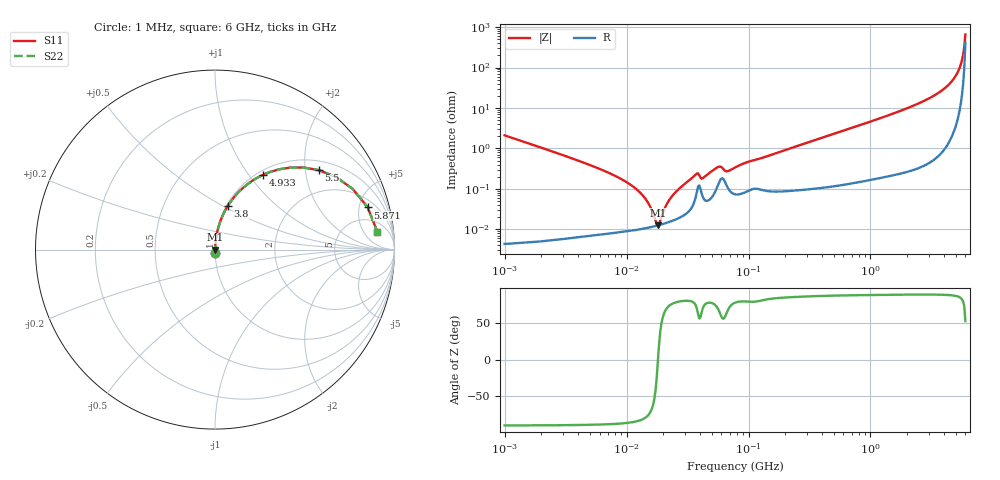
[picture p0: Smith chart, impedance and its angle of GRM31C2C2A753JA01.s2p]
!Murata Part Number: GRM31C2C2A753JA01
!These Parameters are Measured in Series Mode Connection
!Data Generated on Mar 30, 2021
!  o--ll--o
!Port1  Port2
!  o------o
!Operation Temp=25[degC], DC Bias Voltage=0[V]
!Freq. Start=1000[kHz] Stop=6[GHz] 401[Steps]
# Hz S RI R 50
!Freq.(Hz) S11(Real) S11(Imag) S21(Real) S21(Imag) S12(Real) S12(Imag) S22(Real) S22(Imag)
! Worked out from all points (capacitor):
!   401 points, 1 MHz to 6 GHz, reference 50 ohm
!   read as one part in series: C = 75.3 nF near 1.044 MHz
!   lowest |Z| = 12.5 mohm at 18.04 MHz (marker M1)
!   series resonance near 18.1 MHz, so ESL is about 1 nH
!   S11 on the Smith chart (normalised r, x): 1 MHz: 1.00, -0.04; 3.8 GHz: 1.02, +0.53; 4.933 GHz: 1.06, +1.17; 5.5 GHz: 1.26, +2.37; 5.871 GHz: 2.85, +6.08; 6 GHz: 9, +10
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1000000  0.000487 -0.0211  0.9995 0.0211  0.9995 0.0211  0.000487 -0.0211
4293785  8.69e-05 -0.00463  0.9999 0.00463  0.9999 0.00463  8.69e-05 -0.00463
7894251  8.57e-05 -0.00216  0.9999 0.00216  0.9999 0.00216  8.57e-05 -0.00216
1.16769e7  9.63e-05 -0.00106  0.9999 0.00106  0.9999 0.00106  9.63e-05 -0.00106
1.451381e7  0.000107 -0.000521  0.9999 0.000521  0.9999 0.000521  0.000107 -0.000521
1.803995e7  0.000125 -7.6e-06  0.9999 7.6e-06  0.9999 7.6e-06  0.000125 -7.6e-06
1.843659e7  0.000127 4.35e-05  0.9999 -4.35e-05  0.9999 -4.35e-05  0.000127 4.35e-05
2.100646e7  0.000143 0.000354  0.9999 -0.000354  0.9999 -0.000354  0.000143 0.000354
2.341962e7  0.00016 0.000621  0.9998 -0.000621  0.9998 -0.000621  0.00016 0.000621
3.697709e7  0.000652 0.00218  0.9993 -0.00218  0.9993 -0.00218  0.000652 0.00218
4.213132e7  0.000638 0.00172  0.9994 -0.00172  0.9994 -0.00172  0.000638 0.00172
5.589783e7  0.0012 0.00322  0.9988 -0.00322  0.9988 -0.00322  0.0012 0.00322
6.652088e7  0.00117 0.00244  0.9988 -0.00244  0.9988 -0.00244  0.00117 0.00244
7.745967e7  0.000745 0.00329  0.9993 -0.00329  0.9993 -0.00329  0.000745 0.00329
3.325952e8  0.00122 0.0152  0.9988 -0.0152  0.9988 -0.0152  0.00122 0.0152
1.428092e9  0.00654 0.0667  0.9935 -0.0667  0.9935 -0.0667  0.00654 0.0667
3.800129e9  0.0711 0.243  0.9289 -0.243  0.9289 -0.243  0.0711 0.243
4.425027e9  0.1412 0.3299  0.8588 -0.3299  0.8588 -0.3299  0.1412 0.3299
4.93336e9  0.2671 0.4165  0.7329 -0.4165  0.7329 -0.4165  0.2671 0.4165
5.500089e9  0.5787 0.4426  0.4213 -0.4426  0.4213 -0.4426  0.5787 0.4426
5.870916e9  0.8511 0.2348  0.1489 -0.2348  0.1489 -0.2348  0.8511 0.2348
6e9  0.9042 0.0995  0.0958 -0.0995  0.0958 -0.0995  0.9042 0.0995
